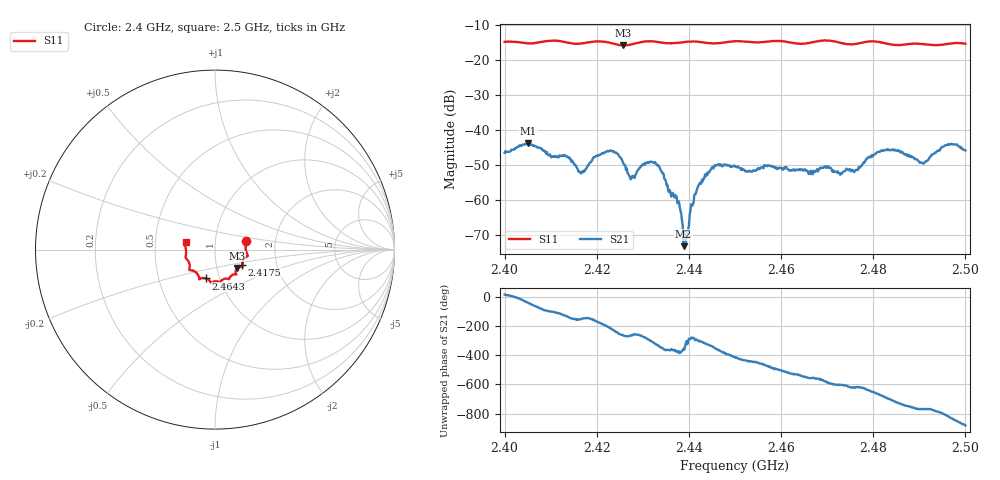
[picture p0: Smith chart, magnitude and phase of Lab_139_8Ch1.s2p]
# Hz S RI R 50
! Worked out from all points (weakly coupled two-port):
!   601 points, 2.4 GHz to 2.5 GHz, reference 50 ohm
!   highest |S21| = -43.84 dB at 2.4052 GHz (marker M1); lowest = -73.1 dB at 2.4388 GHz (marker M2)
!   lowest |S11| = -15.9 dB at 2.4257 GHz (marker M3), VSWR 1.38, Z = 62.5 - j13.1 ohm
!   |S11| at or under -10 dB: start of sweep to end of sweep
!   S12 and S22 are empty: the file has one direction only
!   S11 on the Smith chart (normalised r, x): 2.4 GHz: 1.41, +0.14; 2.4175 GHz: 1.34, -0.23; 2.4643 GHz: 0.86, -0.29; 2.5 GHz: 0.72, +0.06
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2.4e9  0.173 0.0485  0.00456 0.0013  0 0  0 0
2.405167e9  0.1705 0.0123  0.00476 -0.00431  0 0  0 0
2.416667e9  0.153 -0.0745  -0.00213 -0.00118  0 0  0 0
2.4175e9  0.1519 -0.0839  -0.00226 -0.00153  0 0  0 0
2.422667e9  0.1475 -0.0946  -0.00439 0.00246  0 0  0 0
2.425667e9  0.1228 -0.102  -0.00045 0.00347  0 0  0 0
2.427667e9  0.1149 -0.1199  -0.000244 0.00219  0 0  0 0
2.4305e9  0.1183 -0.1376  0.000589 0.00335  0 0  0 0
2.433333e9  0.1131 -0.1375  0.00279 0.00149  0 0  0 0
2.4375e9  0.0842 -0.1516  0.000882 -0.000208  0 0  0 0
2.438833e9  0.08 -0.1587  0.000221 2.13e-05  0 0  0 0
2.439333e9  0.0793 -0.161  0.000183 0.000164  0 0  0 0
2.441667e9  0.0752 -0.1646  0.000523 0.00128  0 0  0 0
2.443667e9  0.0654 -0.1612  0.00174 0.00135  0 0  0 0
2.45e9  0.0289 -0.181  0.00176 -0.0025  0 0  0 0
2.464333e9  -0.0501 -0.1609  -0.00273 6.6e-05  0 0  0 0
2.466667e9  -0.0761 -0.1591  -0.00243 0.000744  0 0  0 0
2.476167e9  -0.118 -0.1187  -0.000342 0.00265  0 0  0 0
2.483333e9  -0.1409 -0.0901  0.00481 0.0019  0 0  0 0
2.490667e9  -0.163 -0.0362  0.00229 -0.00253  0 0  0 0
2.495833e9  -0.1658 0.0182  -0.000234 -0.00611  0 0  0 0
2.5e9  -0.1639 0.0427  -0.00486 -0.0016  0 0  0 0
